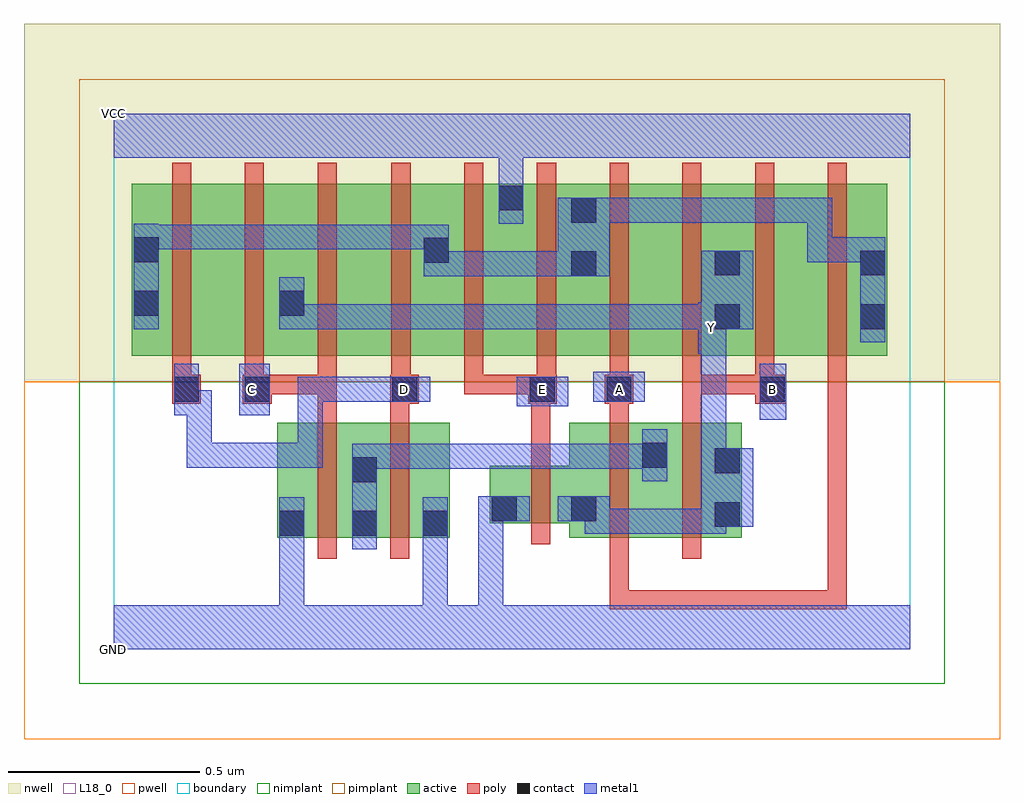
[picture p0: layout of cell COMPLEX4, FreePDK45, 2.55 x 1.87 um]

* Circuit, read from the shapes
.subckt COMPLEX4 A B C D E GND VCC Y
M1 n1 C GND VSUBS nfet w=0.3u l=0.05u
M2 GND D n1 VSUBS nfet w=0.3u l=0.05u
M3 Y E GND VSUBS nfet w=0.15u l=0.05u
M4 n1 A Y VSUBS nfet w=0.3u l=0.05u
M5 Y B n1 VSUBS nfet w=0.3u l=0.05u
M6 n2 D n3 n4 pfet w=0.45u l=0.05u
M7 Y C n2 n4 pfet w=0.45u l=0.05u
M8 n5 C Y n4 pfet w=0.45u l=0.05u
M9 n3 D n5 n4 pfet w=0.45u l=0.05u
M10 VCC E n3 n4 pfet w=0.45u l=0.05u m=2
M11 n6 A n3 n4 pfet w=0.45u l=0.05u
M12 Y B n6 n4 pfet w=0.45u l=0.05u
M13 n7 B Y n4 pfet w=0.45u l=0.05u
M14 n3 A n7 n4 pfet w=0.45u l=0.05u
.ends

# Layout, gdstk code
import gdstk
lib = gdstk.Library(unit=1e-6, precision=1e-09)
def R(c, l, rs):  # rectangles x0, y0, x1, y1
    for r in rs: c.add(gdstk.rectangle(r[:2], r[2:], *l))
def A(c, l, x, y, w, h, nx, ny, dx, dy):  # array of equal rectangles
    R(c, l, [(x+i*dx, y+j*dy, x+i*dx+w, y+j*dy+h) for i in range(nx) for j in range(ny)])
active = (1, 0)
pwell = (2, 0)
nwell = (3, 0)
nimplant = (4, 0)
pimplant = (5, 0)
poly = (9, 0)
contact = (10, 0)
metal1 = (11, 0)
L18_0 = (18, 0)
boundary = (235, 0)

complex4 = lib.new_cell('COMPLEX4')
R(complex4, active, [(0.427,0.292,0.692,0.592), (0.427,0.292,0.502,0.592), (0.617,0.292,0.692,0.507), (0.617,0.292,0.877,0.592), (0.802,0.292,0.877,0.592), (1.19,0.292,1.45,0.592), (1.19,0.292,1.265,0.405), (1.375,0.292,1.64,0.592), (1.565,0.315,1.64,0.592), (0.982,0.33,1.265,0.48), (0.982,0.33,1.057,0.48), (1.375,0.33,1.45,0.545), (0.047,0.767,0.272,1.217), (0.047,0.767,0.152,1.2), (0.272,0.767,0.502,1.217), (0.427,0.767,0.652,1.217), (0.427,0.767,0.502,1.07), (0.652,0.767,0.88,1.217), (0.805,0.767,1.075,1.217), (1,0.767,1.265,1.217), (1.19,0.767,1.415,1.217), (1.415,0.767,1.64,1.217), (1.565,0.767,1.795,1.217), (1.565,0.767,1.64,1.07), (1.795,0.767,2.02,1.217), (1.945,0.767,2.02,1.2), (0.805,0.857,0.88,1.2), (1,0.857,1.075,1.217), (1.19,0.857,1.265,1.2)])
R(complex4, pwell, [(-0.235,-0.235,2.315,0.7)])
R(complex4, nwell, [(-0.235,0.7,2.315,1.635)])
R(complex4, nimplant, [(-0.09,-0.09,2.17,0.7)])
R(complex4, pimplant, [(-0.09,0.7,2.17,1.49)])
A(complex4, poly, 0.152, 0.667, 0.05, 0.095, 3, 1, 0.19, 0)
A(complex4, poly, 0.725, 0.667, 0.05, 0.095, 6, 1, 0.19, 0)
A(complex4, poly, 0.152, 0.712, 0.05, 0.56, 3, 1, 0.19, 0)
A(complex4, poly, 0.725, 0.712, 0.05, 0.56, 7, 1, 0.19, 0)
R(complex4, poly, [(1.295,0.105,1.345,0.155), (1.295,0.105,1.345,0.155), (1.295,0.105,1.345,0.155), (1.295,0.105,1.592,0.155), (1.295,0.105,1.345,0.287), (1.542,0.105,1.592,0.155), (1.542,0.105,1.592,0.155), (1.542,0.105,1.592,0.155), (1.542,0.105,1.782,0.155), (1.732,0.105,1.782,0.155), (1.732,0.105,1.782,0.155), (1.732,0.105,1.782,0.155), (1.732,0.105,1.915,0.155), (1.865,0.105,1.915,0.762), (1.865,0.105,1.915,0.155), (1.865,0.105,1.915,0.155), (1.865,0.105,1.915,0.155), (1.865,0.105,1.915,0.155), (1.865,0.105,1.915,0.155), (1.865,0.105,1.915,0.155), (1.865,0.105,1.915,0.155), (1.865,0.105,1.915,0.155), (1.865,0.105,1.915,0.155), (0.532,0.237,0.582,0.647), (0.722,0.237,0.772,0.647), (1.295,0.237,1.345,0.647), (1.485,0.237,1.535,0.647), (1.09,0.275,1.14,0.535), (1.09,0.485,1.14,0.692), (0.532,0.597,0.582,0.717), (0.722,0.597,0.772,0.692), (1.295,0.597,1.345,0.692), (1.485,0.597,1.535,0.717), (0.152,0.642,0.227,0.717), (0.337,0.642,0.412,0.717), (0.722,0.642,0.797,0.717), (1.082,0.642,1.157,0.717), (1.282,0.642,1.357,0.717), (1.675,0.642,1.757,0.717), (0.362,0.667,0.412,0.717), (0.362,0.667,0.412,0.717), (0.362,0.667,0.582,0.717), (0.532,0.667,0.582,0.717), (0.915,0.667,0.965,0.717), (0.915,0.667,0.965,0.717), (0.915,0.667,0.965,0.717), (0.915,0.667,1.132,0.717), (1.485,0.667,1.535,0.717), (1.485,0.667,1.535,0.717), (1.485,0.667,1.535,0.717), (1.485,0.667,1.725,0.717)])
R(complex4, contact, [(0.432,0.297,0.497,0.362), (0.622,0.297,0.687,0.362), (0.807,0.297,0.872,0.362), (1.57,0.32,1.635,0.385), (0.987,0.335,1.052,0.4), (1.195,0.335,1.26,0.4), (0.622,0.437,0.687,0.502), (1.57,0.46,1.635,0.525), (1.38,0.475,1.445,0.54), (0.157,0.647,0.222,0.712), (0.342,0.647,0.407,0.712), (0.727,0.647,0.792,0.712), (1.087,0.647,1.152,0.712), (1.287,0.647,1.352,0.712), (1.687,0.647,1.752,0.712), (1.57,0.837,1.635,0.902), (1.95,0.837,2.015,0.902), (0.052,0.872,0.117,0.937), (0.432,0.872,0.497,0.937), (1.195,0.975,1.26,1.04), (1.57,0.977,1.635,1.042), (1.95,0.977,2.015,1.042), (0.81,1.01,0.875,1.075), (0.052,1.012,0.117,1.077), (1.195,1.115,1.26,1.18), (1.005,1.147,1.07,1.212)])
R(complex4, metal1, [(0,0,2.08,0.115), (0.432,0.05,0.497,0.327), (0.807,0.05,0.872,0.115), (0.807,0.05,0.872,0.115), (0.807,0.05,0.872,0.327), (0.952,0.05,1.017,0.115), (0.952,0.05,1.017,0.115), (0.952,0.05,1.017,0.4), (0.432,0.262,0.497,0.327), (0.432,0.262,0.497,0.327), (0.432,0.262,0.497,0.327), (0.432,0.262,0.497,0.327), (0.432,0.262,0.497,0.397), (0.622,0.262,0.687,0.537), (0.807,0.262,0.872,0.327), (0.807,0.262,0.872,0.327), (0.807,0.262,0.872,0.397), (1.23,0.302,1.455,0.367), (1.23,0.302,1.295,0.4), (1.39,0.302,1.455,0.367), (1.39,0.302,1.6,0.367), (1.535,0.302,1.6,0.367), (1.535,0.302,1.6,0.367), (1.535,0.302,1.6,0.367), (1.535,0.302,1.6,0.385), (1.535,0.32,1.67,0.525), (0.952,0.335,1.017,0.4), (0.952,0.335,1.017,0.4), (0.952,0.335,1.017,0.4), (0.952,0.335,1.017,0.4), (0.952,0.335,1.087,0.4), (1.16,0.335,1.295,0.4), (1.23,0.335,1.295,0.4), (1.38,0.44,1.445,0.575), (1.535,0.46,1.6,0.837), (0.622,0.472,0.687,0.537), (0.622,0.472,0.687,0.537), (0.622,0.472,0.875,0.537), (0.81,0.472,0.875,0.537), (0.81,0.472,0.875,0.537), (0.81,0.472,0.875,0.537), (0.81,0.472,1.012,0.537), (0.947,0.472,1.012,0.537), (0.947,0.472,1.157,0.537), (1.092,0.472,1.157,0.537), (1.092,0.472,1.157,0.537), (1.092,0.472,1.157,0.537), (1.092,0.472,1.295,0.537), (1.23,0.472,1.295,0.537), (1.23,0.472,1.445,0.537), (0.19,0.475,0.255,0.54), (0.19,0.475,0.36,0.54), (0.19,0.475,0.255,0.677), (0.295,0.475,0.36,0.54), (0.295,0.475,0.545,0.54), (0.48,0.475,0.545,0.54), (0.48,0.475,0.545,0.712), (1.687,0.6,1.757,0.747), (0.157,0.612,0.222,0.747), (0.157,0.612,0.255,0.677), (0.19,0.612,0.255,0.677), (0.327,0.612,0.407,0.747), (1.052,0.635,1.187,0.712), (0.48,0.647,0.545,0.712), (0.48,0.647,0.545,0.712), (0.48,0.647,0.545,0.712), (0.48,0.647,0.682,0.712), (0.617,0.647,0.682,0.712), (0.617,0.647,0.757,0.712), (0.692,0.647,0.827,0.712), (1.252,0.647,1.387,0.725), (1.527,0.772,1.6,0.907), (1.95,0.802,2.015,1.077), (0.052,0.837,0.117,1.112), (0.432,0.837,0.497,0.972), (0.432,0.837,0.55,0.902), (0.485,0.837,0.55,0.902), (0.485,0.837,0.682,0.902), (0.617,0.837,0.682,0.902), (0.617,0.837,0.737,0.902), (0.672,0.837,0.737,0.902), (0.672,0.837,0.875,0.902), (0.81,0.837,0.875,0.902), (0.81,0.837,0.875,0.902), (0.81,0.837,0.875,0.902), (0.81,0.837,1.02,0.902), (0.955,0.837,1.02,0.902), (0.955,0.837,1.02,0.902), (0.955,0.837,1.02,0.902), (0.955,0.837,1.295,0.902), (1.23,0.837,1.295,0.902), (1.23,0.837,1.295,0.902), (1.23,0.837,1.295,0.902), (1.23,0.837,1.432,0.902), (1.367,0.837,1.432,0.902), (1.367,0.837,1.6,0.902), (1.535,0.837,1.6,0.902), (1.535,0.837,1.6,0.902), (1.535,0.837,1.6,0.902), (1.535,0.837,1.67,1.042), (0.81,0.975,0.875,1.04), (0.81,0.975,0.875,1.04), (0.81,0.975,1.012,1.04), (0.81,0.975,0.875,1.11), (0.947,0.975,1.012,1.04), (0.947,0.975,1.012,1.04), (0.947,0.975,1.012,1.04), (0.947,0.975,1.225,1.04), (1.16,0.975,1.295,1.18), (1.812,1.012,1.877,1.077), (1.812,1.012,2.015,1.077), (1.812,1.012,1.877,1.18), (1.95,1.012,2.015,1.077), (1.95,1.012,2.015,1.077), (0.052,1.045,0.117,1.11), (0.052,1.045,0.117,1.11), (0.052,1.045,0.36,1.11), (0.295,1.045,0.36,1.11), (0.295,1.045,0.36,1.11), (0.295,1.045,0.36,1.11), (0.295,1.045,0.36,1.11), (0.295,1.045,0.36,1.11), (0.295,1.045,0.545,1.11), (0.48,1.045,0.545,1.11), (0.48,1.045,0.545,1.11), (0.48,1.045,0.545,1.11), (0.48,1.045,0.682,1.11), (0.617,1.045,0.682,1.11), (0.617,1.045,0.712,1.11), (0.647,1.045,0.712,1.11), (0.647,1.045,0.875,1.11), (1.005,1.112,1.07,1.247), (1.23,1.115,1.295,1.18), (1.23,1.115,1.295,1.18), (1.23,1.115,1.455,1.18), (1.39,1.115,1.455,1.18), (1.39,1.115,1.592,1.18), (1.527,1.115,1.592,1.18), (1.527,1.115,1.592,1.18), (1.527,1.115,1.592,1.18), (1.527,1.115,1.877,1.18), (1.812,1.115,1.877,1.18), (1.812,1.115,1.877,1.18), (1.812,1.115,1.877,1.18), (1.005,1.182,1.07,1.35), (0,1.285,2.08,1.4)])
R(complex4, L18_0, [(0,0,2.08,0.115), (0.432,0.05,0.497,0.327), (0.807,0.05,0.872,0.115), (0.807,0.05,0.872,0.115), (0.807,0.05,0.872,0.327), (0.952,0.05,1.017,0.115), (0.952,0.05,1.017,0.115), (0.952,0.05,1.017,0.4), (0.432,0.262,0.497,0.397), (0.432,0.262,0.497,0.327), (0.432,0.262,0.497,0.327), (0.432,0.262,0.497,0.327), (0.432,0.262,0.497,0.327), (0.807,0.262,0.872,0.397), (0.807,0.262,0.872,0.327), (0.807,0.262,0.872,0.327), (1.23,0.302,1.295,0.4), (1.23,0.302,1.455,0.367), (1.39,0.302,1.455,0.367), (1.39,0.302,1.6,0.367), (1.535,0.302,1.6,0.367), (1.535,0.302,1.6,0.367), (1.535,0.302,1.6,0.367), (1.535,0.302,1.6,0.385), (1.535,0.32,1.67,0.525), (0.952,0.335,1.017,0.4), (0.952,0.335,1.017,0.4), (0.952,0.335,1.017,0.4), (0.952,0.335,1.017,0.4), (0.952,0.335,1.087,0.4), (1.16,0.335,1.295,0.4), (1.23,0.335,1.295,0.4), (1.535,0.46,1.6,0.837), (0.19,0.475,0.255,0.54), (0.19,0.475,0.255,0.677), (0.19,0.475,0.36,0.54), (0.295,0.475,0.36,0.54), (0.295,0.475,0.545,0.54), (0.48,0.475,0.545,0.54), (0.48,0.475,0.545,0.712), (1.687,0.6,1.757,0.747), (0.157,0.612,0.222,0.747), (0.157,0.612,0.255,0.677), (0.19,0.612,0.255,0.677), (0.327,0.612,0.407,0.747), (1.052,0.635,1.187,0.712), (0.327,0.647,0.392,0.712), (0.48,0.647,0.545,0.712), (0.48,0.647,0.545,0.712), (0.48,0.647,0.545,0.712), (0.48,0.647,0.682,0.712), (0.617,0.647,0.682,0.712), (0.617,0.647,0.757,0.712), (0.692,0.647,0.827,0.712), (0.727,0.647,0.792,0.712), (1.087,0.647,1.152,0.712), (1.252,0.647,1.387,0.725), (1.287,0.647,1.352,0.712), (1.687,0.647,1.752,0.712), (1.527,0.772,1.6,0.907), (1.527,0.807,1.592,0.872), (0.432,0.837,0.497,0.972), (0.432,0.837,0.55,0.902), (0.485,0.837,0.55,0.902), (0.485,0.837,0.682,0.902), (0.617,0.837,0.682,0.902), (0.617,0.837,0.737,0.902), (0.672,0.837,0.737,0.902), (0.672,0.837,0.875,0.902), (0.81,0.837,0.875,0.902), (0.81,0.837,0.875,0.902), (0.81,0.837,0.875,0.902), (0.81,0.837,1.02,0.902), (0.955,0.837,1.02,0.902), (0.955,0.837,1.02,0.902), (0.955,0.837,1.02,0.902), (0.955,0.837,1.295,0.902), (1.23,0.837,1.295,0.902), (1.23,0.837,1.295,0.902), (1.23,0.837,1.295,0.902), (1.23,0.837,1.432,0.902), (1.367,0.837,1.432,0.902), (1.367,0.837,1.6,0.902), (1.535,0.837,1.6,0.902), (1.535,0.837,1.6,0.902), (1.535,0.837,1.6,0.902), (1.535,0.837,1.67,1.042), (1.005,1.112,1.07,1.247), (1.005,1.182,1.07,1.35), (0,1.285,2.08,1.4)])
R(complex4, boundary, [(0,0,2.08,1.4)])
complex4.add(gdstk.Label('A', (1.32,0.68), layer=11, texttype=0))
complex4.add(gdstk.Label('B', (1.72,0.68), layer=11, texttype=0))
complex4.add(gdstk.Label('C', (0.36,0.68), layer=11, texttype=0))
complex4.add(gdstk.Label('D', (0.76,0.68), layer=11, texttype=0))
complex4.add(gdstk.Label('E', (1.12,0.68), layer=11, texttype=0))
complex4.add(gdstk.Label('Y', (1.56,0.84), layer=11, texttype=0))
complex4.add(gdstk.Label('VCC', (0,1.4), layer=11, texttype=0))
complex4.add(gdstk.Label('GND', (0,0), layer=11, texttype=0))

lib.write_gds('COMPLEX4.gds')
